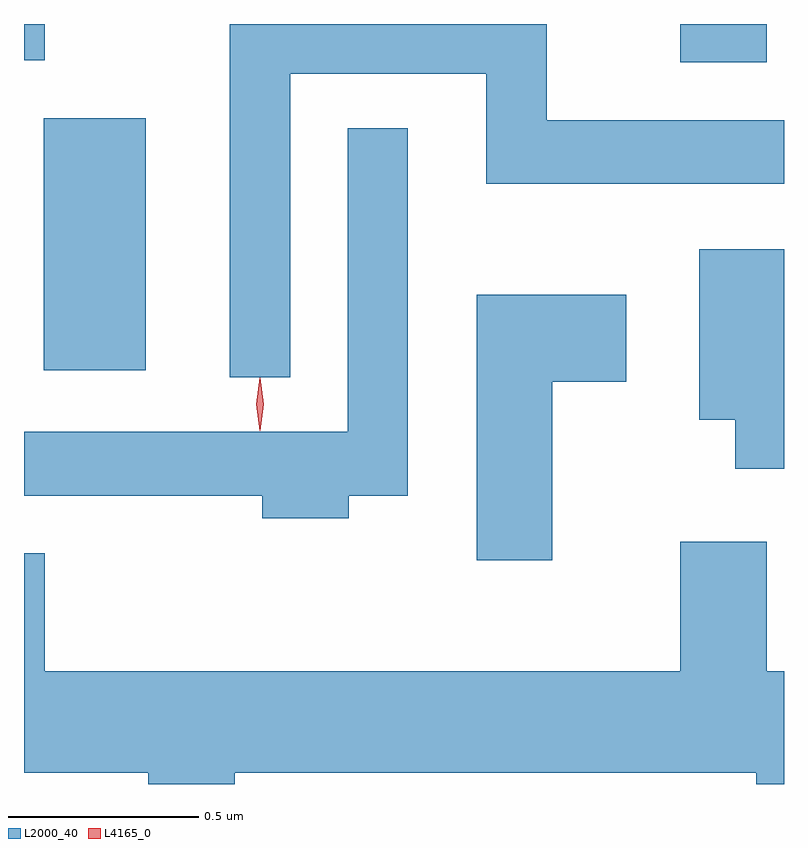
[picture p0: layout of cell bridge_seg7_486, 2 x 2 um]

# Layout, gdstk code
import gdstk
lib = gdstk.Library(unit=1e-6, precision=1e-09)
def R(c, l, rs):  # rectangles x0, y0, x1, y1
    for r in rs: c.add(gdstk.rectangle(r[:2], r[2:], *l))
def P(c, l, *ps):  # polygons
    for p in ps: c.add(gdstk.Polygon(p, *l))
L2000_40 = (2000, 40)
L4165_0 = (4165, 0)

bridge_seg7_486 = lib.new_cell('bridge_seg7_486')
R(bridge_seg7_486, L2000_40, [(1115.846,1704.276,1116.114,1704.939), (1117.521,1705.086,1117.749,1705.187), (1115.794,1705.091,1115.849,1705.187)])
P(bridge_seg7_486, L2000_40, [(1116.494,1705.056),(1117.011,1705.056),(1117.011,1704.766),(1117.794,1704.766),(1117.794,1704.934),(1117.169,1704.934),(1117.169,1705.187),(1116.336,1705.187),(1116.336,1704.258),(1116.494,1704.258)],
  [(1116.649,1703.946),(1116.804,1703.946),(1116.804,1704.913),(1116.646,1704.913),(1116.646,1704.114),(1115.794,1704.114),(1115.794,1703.946),(1116.421,1703.946),(1116.421,1703.886),(1116.649,1703.886)],
  [(1117.794,1704.594),(1117.571,1704.594),(1117.571,1704.146),(1117.666,1704.146),(1117.666,1704.016),(1117.794,1704.016)],
  [(1117.184,1704.246),(1117.379,1704.246),(1117.379,1704.474),(1116.986,1704.474),(1116.986,1703.776),(1117.184,1703.776)],
  [(1116.349,1703.216),(1117.721,1703.216),(1117.721,1703.187),(1117.794,1703.187),(1117.794,1703.484),(1117.749,1703.484),(1117.749,1703.824),(1117.521,1703.824),(1117.521,1703.484),(1115.849,1703.484),(1115.849,1703.794),(1115.794,1703.794),(1115.794,1703.216),(1116.121,1703.216),(1116.121,1703.187),(1116.349,1703.187)])
P(bridge_seg7_486, L4165_0, [(1116.414,1704.117),(1116.405,1704.186),(1116.414,1704.256),(1116.415,1704.256),(1116.416,1704.256),(1116.425,1704.186),(1116.416,1704.117),(1116.415,1704.117)])

lib.write_gds('bridge_seg7_486.gds')
